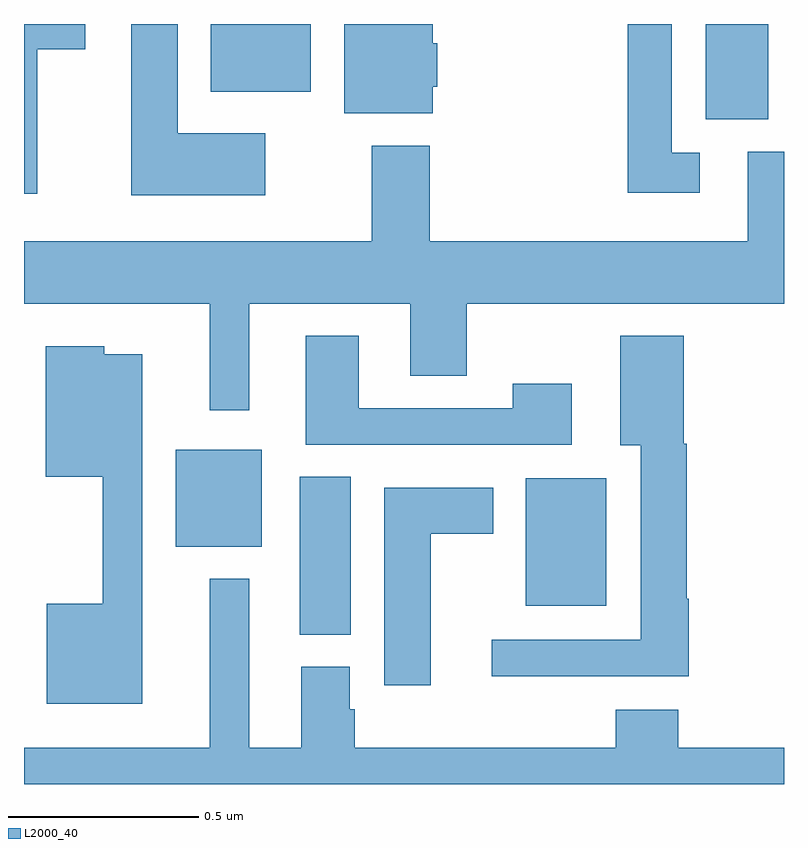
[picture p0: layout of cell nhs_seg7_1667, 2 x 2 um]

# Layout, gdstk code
import gdstk
lib = gdstk.Library(unit=1e-6, precision=1e-09)
def R(c, l, rs):  # rectangles x0, y0, x1, y1
    for r in rs: c.add(gdstk.rectangle(r[:2], r[2:], *l))
def P(c, l, *ps):  # polygons
    for p in ps: c.add(gdstk.Polygon(p, *l))
L2000_40 = (2000, 40)

nhs_seg7_1667 = lib.new_cell('nhs_seg7_1667')
R(nhs_seg7_1667, L2000_40, [(134.726,1018.393,134.86,1018.808), (135.32,1018.469,135.532,1018.804), (134.399,1018.625,134.626,1018.879), (135.794,1019.749,135.958,1020), (134.492,1019.822,134.755,1020)])
P(nhs_seg7_1667, L2000_40, [(135.076,1019.835),(135.088,1019.835),(135.088,1019.949),(135.076,1019.949),(135.076,1020),(134.843,1020),(134.843,1019.765),(135.076,1019.765)],
  [(134.635,1019.713),(134.404,1019.713),(134.404,1020),(134.282,1020),(134.282,1019.549),(134.635,1019.549)],
  [(134.035,1019.933),(134.161,1019.933),(134.161,1020),(134,1020),(134,1019.553),(134.035,1019.553)],
  [(135.778,1019.661),(135.705,1019.661),(135.705,1020),(135.589,1020),(135.589,1019.556),(135.778,1019.556)],
  [(134.593,1019.264),(135.017,1019.264),(135.017,1019.074),(135.165,1019.074),(135.165,1019.264),(136,1019.264),(136,1019.664),(135.905,1019.664),(135.905,1019.428),(135.068,1019.428),(135.068,1019.68),(134.915,1019.68),(134.915,1019.428),(134,1019.428),(134,1019.264),(134.489,1019.264),(134.489,1018.983),(134.593,1018.983)],
  [(135.749,1018.487),(135.744,1018.487),(135.744,1018.896),(135.736,1018.896),(135.736,1019.179),(135.569,1019.179),(135.569,1018.892),(135.623,1018.892),(135.623,1018.38),(135.231,1018.38),(135.231,1018.283),(135.749,1018.283)],
  [(135.442,1019.053),(135.286,1019.053),(135.286,1018.989),(134.881,1018.989),(134.881,1019.179),(134.741,1019.179),(134.741,1018.893),(135.442,1018.893)],
  [(134.311,1019.131),(134.211,1019.131),(134.211,1019.152),(134.057,1019.152),(134.057,1018.808),(134.207,1018.808),(134.207,1018.474),(134.06,1018.474),(134.06,1018.211),(134.311,1018.211)],
  [(135.07,1018.658),(135.235,1018.658),(135.235,1018.78),(134.948,1018.78),(134.948,1018.26),(135.07,1018.26)],
  [(136,1018.096),(135.722,1018.096),(135.722,1018.195),(135.557,1018.195),(135.557,1018.096),(134.87,1018.096),(134.87,1018.197),(134.857,1018.197),(134.857,1018.308),(134.729,1018.308),(134.729,1018.096),(134.593,1018.096),(134.593,1018.54),(134.489,1018.54),(134.489,1018.096),(134,1018.096),(134,1018),(136,1018)])

lib.write_gds('nhs_seg7_1667.gds')
